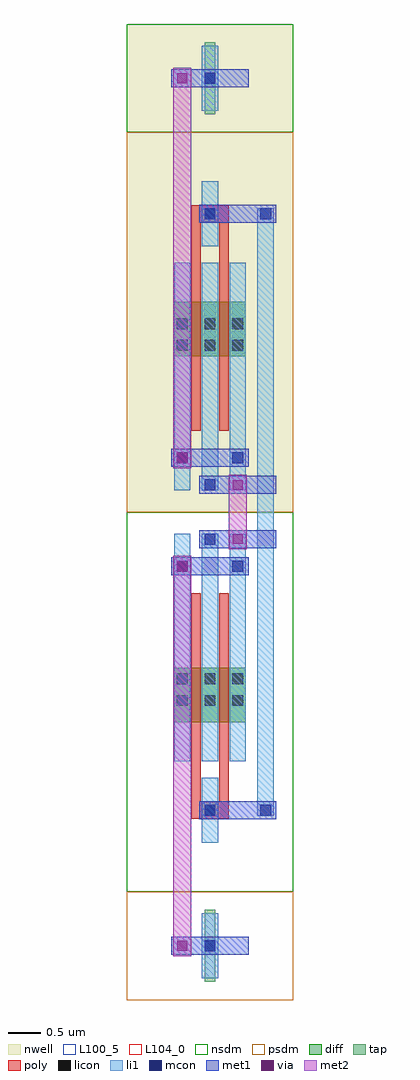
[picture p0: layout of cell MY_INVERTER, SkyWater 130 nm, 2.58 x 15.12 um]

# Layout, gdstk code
import gdstk
lib = gdstk.Library(unit=1e-6, precision=1e-09)
def R(c, l, rs):  # rectangles x0, y0, x1, y1
    for r in rs: c.add(gdstk.rectangle(r[:2], r[2:], *l))
def A(c, l, x, y, w, h, nx, ny, dx, dy):  # array of equal rectangles
    R(c, l, [(x+i*dx, y+j*dy, x+i*dx+w, y+j*dy+h) for i in range(nx) for j in range(ny)])
nwell = (64, 20)
diff = (65, 20)
tap = (65, 44)
poly = (66, 20)
licon = (66, 44)
li1 = (67, 20)
mcon = (67, 44)
met1 = (68, 20)
via = (68, 44)
met2 = (69, 20)
nsdm = (93, 44)
psdm = (94, 20)
L100_5 = (100, 5)
L104_0 = (104, 0)

my_inverter = lib.new_cell('MY_INVERTER')
R(my_inverter, nwell, [(0,7.56,2.58,15.12)])
R(my_inverter, diff, [(0.735,4.305,1.845,5.145), (0.735,9.975,1.845,10.815)])
R(my_inverter, tap, [(1.205,0.28,1.375,1.4), (1.205,13.72,1.375,14.84)])
R(my_inverter, poly, [(1,2.805,1.58,3.075), (1,2.94,1.15,6.3), (1.43,2.94,1.58,6.3), (1,8.82,1.15,12.18), (1.43,8.82,1.58,12.18), (1,12.045,1.58,12.315)])
A(my_inverter, licon, 0.775, 4.555, 0.17, 0.17, 3, 2, 0.43, 0.34)
A(my_inverter, licon, 0.775, 10.055, 0.17, 0.17, 3, 2, 0.43, 0.34)
R(my_inverter, licon, [(1.205,0.755,1.375,0.925), (1.205,2.855,1.375,3.025), (1.205,12.095,1.375,12.265), (1.205,14.195,1.375,14.365)])
A(my_inverter, li1, 0.735, 3.695, 0.25, 3.53, 3, 2, 0.43, 4.2)
R(my_inverter, li1, [(1.165,0.335,1.415,1.345), (1.165,2.435,1.415,3.445), (2.025,2.855,2.275,12.265), (1.165,11.675,1.415,12.685), (1.165,13.775,1.415,14.785)])
R(my_inverter, mcon, [(1.205,0.755,1.375,0.925), (1.205,2.855,1.375,3.025), (2.065,2.855,2.235,3.025), (0.775,6.635,0.945,6.805), (1.635,6.635,1.805,6.805), (1.205,7.055,1.375,7.225), (1.205,7.895,1.375,8.065), (0.775,8.315,0.945,8.485), (1.635,8.315,1.805,8.485), (1.205,12.095,1.375,12.265), (2.065,12.095,2.235,12.265), (1.205,14.195,1.375,14.365)])
R(my_inverter, met1, [(0.69,0.7,1.89,0.98), (1.12,2.8,2.32,3.08), (0.69,6.58,1.89,6.86), (1.12,7,2.32,7.28), (1.12,7.84,2.32,8.12), (0.69,8.26,1.89,8.54), (1.12,12.04,2.32,12.32), (0.69,14.14,1.89,14.42)])
R(my_inverter, via, [(0.785,0.765,0.935,0.915), (0.785,6.645,0.935,6.795), (1.645,7.065,1.795,7.215), (1.645,7.905,1.795,8.055), (0.785,8.325,0.935,8.475), (0.785,14.205,0.935,14.355)])
R(my_inverter, met2, [(0.72,0.68,1,6.88), (1.58,6.98,1.86,8.14), (0.72,8.24,1,14.44)])
R(my_inverter, nsdm, [(0,1.68,2.58,7.56), (0,13.44,2.58,15.12)])
R(my_inverter, psdm, [(0,0,2.58,1.68), (0,7.56,2.58,13.44)])
R(my_inverter, L100_5, [(0,0,2.58,15.12)])
R(my_inverter, L104_0, [(0,0,2.58,15.12)])

lib.write_gds('MY_INVERTER.gds')
